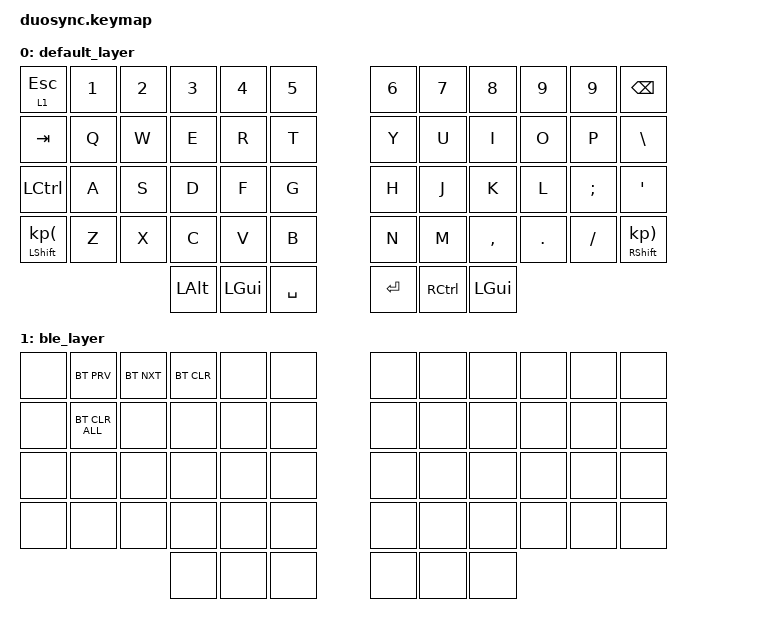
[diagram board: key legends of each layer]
#include <behaviors.dtsi>
#include <dt-bindings/zmk/keys.h>
#include <dt-bindings/zmk/bt.h>
/ {
    keymap {
        compatible = "zmk,keymap";

        default_layer {
            bindings = <
    &lt 1 ESC               &kp N1   &kp N2     &kp N3    &kp N4     &kp N5   &kp N6    &kp N7    &kp N8    &kp N9    &kp N9   &kp BSPC
    &kp TAB                 &kp Q    &kp W      &kp E     &kp R      &kp T    &kp Y     &kp U     &kp I     &kp O     &kp P    &kp BSLH
    &kp LCTRL               &kp A    &kp S      &kp D     &kp F      &kp G    &kp H     &kp J     &kp K     &kp L     &kp SEMI &kp SQT
    &mt LSHIFT KP_LPAR      &kp Z    &kp X      &kp C     &kp V      &kp B    &kp N     &kp M     &kp COMMA &kp DOT   &kp FSLH &mt RSHIFT KP_RPAR
                                     &kp LALT   &kp LGUI  &kp SPACE  &kp RET  &kp RCTRL &kp LGUI
                                 >;
        };
    ble_layer {
    bindings = <
    &none      &bt BT_PRV        &bt BT_NXT &bt BT_CLR   &none       &none  &none   &none   &none       &none       &none       &none
    &none      &bt BT_CLR_ALL    &none       &none       &none       &none  &none   &none   &none       &none       &none       &none
    &none      &none             &none       &none       &none       &none  &none   &none   &none       &none       &none       &none
    &none      &none             &none       &none       &none       &none  &none   &none   &none       &none       &none       &none
                                 &none       &none       &none       &none  &none   &none
                                 >;

};



    };
};
